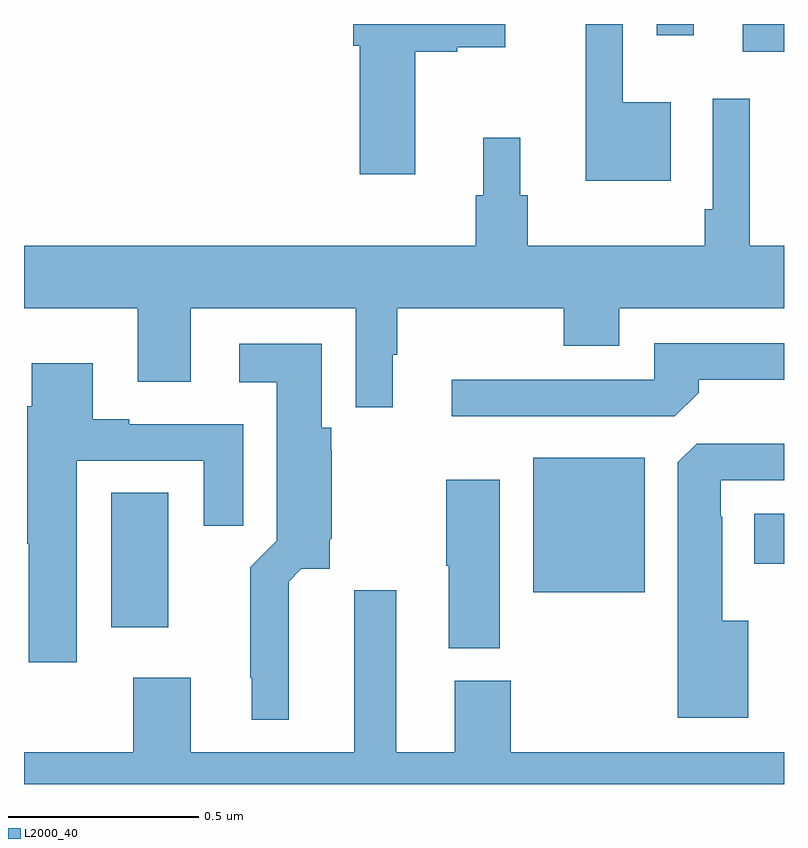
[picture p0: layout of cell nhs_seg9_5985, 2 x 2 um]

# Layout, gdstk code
import gdstk
lib = gdstk.Library(unit=1e-6, precision=1e-09)
def R(c, l, rs):  # rectangles x0, y0, x1, y1
    for r in rs: c.add(gdstk.rectangle(r[:2], r[2:], *l))
def P(c, l, *ps):  # polygons
    for p in ps: c.add(gdstk.Polygon(p, *l))
L2000_40 = (2000, 40)

nhs_seg9_5985 = lib.new_cell('nhs_seg9_5985')
R(nhs_seg9_5985, L2000_40, [(186.23,1196.913,186.379,1197.266), (187.34,1197.005,187.633,1197.358), (187.922,1197.08,188,1197.211), (187.892,1198.427,188,1198.5), (187.665,1198.47,187.762,1198.5)])
P(nhs_seg9_5985, L2000_40, [(187.702,1198.294),(187.575,1198.294),(187.575,1198.5),(187.478,1198.5),(187.478,1198.088),(187.702,1198.088)],
  [(187.03,1198.427),(187.14,1198.427),(187.14,1198.439),(187.267,1198.439),(187.267,1198.5),(186.866,1198.5),(186.866,1198.443),(186.884,1198.443),(186.884,1198.104),(187.03,1198.104)],
  [(186.97,1197.63),(186.982,1197.63),(186.982,1197.752),(187.42,1197.752),(187.42,1197.653),(187.567,1197.653),(187.567,1197.752),(188,1197.752),(188,1197.916),(187.91,1197.916),(187.91,1198.303),(187.812,1198.303),(187.812,1198.012),(187.792,1198.012),(187.792,1197.916),(187.325,1197.916),(187.325,1198.05),(187.306,1198.05),(187.306,1198.201),(187.208,1198.201),(187.208,1198.05),(187.189,1198.05),(187.189,1197.916),(186,1197.916),(186,1197.752),(186.299,1197.752),(186.299,1197.558),(186.439,1197.558),(186.439,1197.752),(186.873,1197.752),(186.873,1197.492),(186.97,1197.492)],
  [(187.775,1197.53),(187.775,1197.564),(188,1197.564),(188,1197.66),(187.659,1197.66),(187.659,1197.564),(187.125,1197.564),(187.125,1197.468),(187.713,1197.468)],
  [(186.697,1197.032),(186.73,1197.066),(186.804,1197.066),(186.804,1197.141),(186.81,1197.147),(186.81,1197.378),(186.809,1197.378),(186.809,1197.438),(186.784,1197.438),(186.784,1197.658),(186.567,1197.658),(186.567,1197.557),(186.665,1197.557),(186.665,1197.14),(186.595,1197.07),(186.595,1196.779),(186.599,1196.779),(186.599,1196.669),(186.697,1196.669)],
  [(186.139,1197.351),(186.473,1197.351),(186.473,1197.18),(186.577,1197.18),(186.577,1197.447),(186.277,1197.447),(186.277,1197.46),(186.181,1197.46),(186.181,1197.607),(186.02,1197.607),(186.02,1197.494),(186.008,1197.494),(186.008,1197.132),(186.013,1197.132),(186.013,1196.82),(186.139,1196.82)],
  [(187.906,1196.929),(187.837,1196.929),(187.837,1197.203),(187.833,1197.203),(187.833,1197.3),(188,1197.3),(188,1197.396),(187.77,1197.396),(187.721,1197.347),(187.721,1196.675),(187.906,1196.675)],
  [(187.252,1197.301),(187.111,1197.301),(187.111,1197.075),(187.118,1197.075),(187.118,1196.857),(187.252,1196.857)],
  [(188,1196.584),(187.281,1196.584),(187.281,1196.772),(187.133,1196.772),(187.133,1196.584),(186.979,1196.584),(186.979,1197.01),(186.869,1197.01),(186.869,1196.584),(186.439,1196.584),(186.439,1196.779),(186.287,1196.779),(186.287,1196.584),(186,1196.584),(186,1196.5),(188,1196.5)])

lib.write_gds('nhs_seg9_5985.gds')
